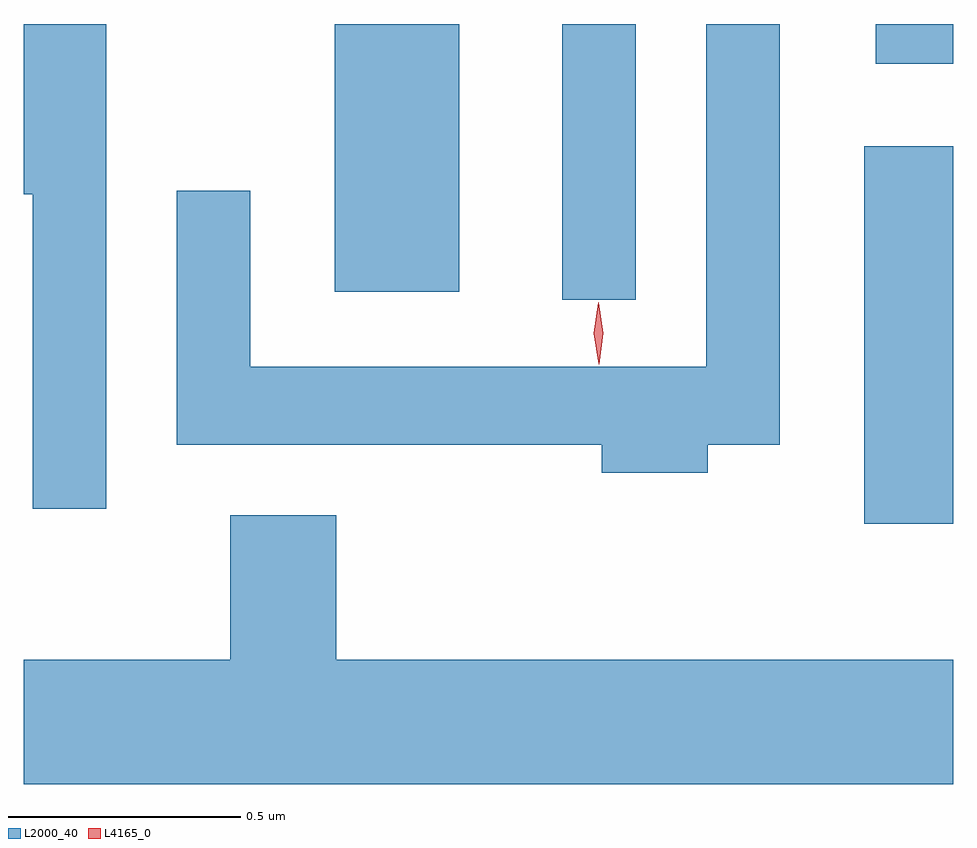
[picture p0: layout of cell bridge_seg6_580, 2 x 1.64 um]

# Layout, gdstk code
import gdstk
lib = gdstk.Library(unit=1e-6, precision=1e-09)
def R(c, l, rs):  # rectangles x0, y0, x1, y1
    for r in rs: c.add(gdstk.rectangle(r[:2], r[2:], *l))
def P(c, l, *ps):  # polygons
    for p in ps: c.add(gdstk.Polygon(p, *l))
L2000_40 = (2000, 40)
L4165_0 = (4165, 0)

bridge_seg6_580 = lib.new_cell('bridge_seg6_580')
R(bridge_seg6_580, L2000_40, [(484.286,1654.936,484.477,1655.749), (483.636,1655.418,483.794,1656.012), (483.146,1655.436,483.414,1656.012), (484.311,1655.926,484.477,1656.012)])
P(bridge_seg6_580, L2000_40, [(482.654,1656.012),(482.477,1656.012),(482.477,1655.646),(482.496,1655.646),(482.496,1654.968),(482.654,1654.968)],
  [(483.949,1655.106),(484.104,1655.106),(484.104,1656.012),(483.946,1656.012),(483.946,1655.274),(482.964,1655.274),(482.964,1655.653),(482.806,1655.653),(482.806,1655.106),(483.721,1655.106),(483.721,1655.046),(483.949,1655.046)],
  [(484.477,1654.644),(483.149,1654.644),(483.149,1654.954),(482.921,1654.954),(482.921,1654.644),(482.477,1654.644),(482.477,1654.376),(484.477,1654.376)])
P(bridge_seg6_580, L4165_0, [(483.714,1655.28),(483.714,1655.28),(483.704,1655.346),(483.713,1655.412),(483.714,1655.413),(483.714,1655.412),(483.724,1655.346),(483.715,1655.28)])

lib.write_gds('bridge_seg6_580.gds')
